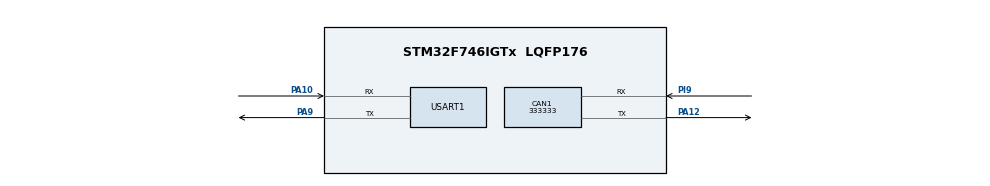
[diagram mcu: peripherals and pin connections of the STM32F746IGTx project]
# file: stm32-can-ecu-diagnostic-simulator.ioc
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CAN1.CalculateBaudRate=333333
CAN1.CalculateTimeBit=3000
CAN1.CalculateTimeQuantum=1000.0
CAN1.Mode=CAN_MODE_LOOPBACK
CORTEX_M7.default_mode_Activation=1
Mcu.Family=STM32F7
Mcu.Name=STM32F746IGTx
Mcu.Package=LQFP176
NVIC.CAN1_RX0_IRQn=true\:0\:0\:false\:false\:true\:true\:true\:true
NVIC.PriorityGroup=NVIC_PRIORITYGROUP_4
NVIC.USART1_IRQn=true\:0\:0\:false\:false\:true\:true\:true\:true
PA10.Mode=Asynchronous
PA10.Signal=USART1_RX
PA12.Mode=CAN_Activate
PA12.Signal=CAN1_TX
PA9.Mode=Asynchronous
PA9.Signal=USART1_TX
PI9.Mode=CAN_Activate
PI9.Signal=CAN1_RX
ProjectManager.HeapSize=0x200
ProjectManager.StackSize=0x400
ProjectManager.TargetToolchain=STM32CubeIDE
RCC.HSE_VALUE=25000000
RCC.HSI_VALUE=16000000
RCC.LSE_VALUE=32768
RCC.USBFreq_Value=96000000
RCC.VCOOutputFreq_Value=192000000
USART1.VirtualMode-Asynchronous=VM_ASYNC
board=custom

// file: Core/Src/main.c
/* USER CODE BEGIN Header */
/**
  ******************************************************************************
  * @file           : main.c
  * @brief          : Main program body
  ******************************************************************************
  * @attention
  *
  * Copyright (c) 2026 STMicroelectronics.
  * All rights reserved.
  *
  * This software is licensed under terms that can be found in the LICENSE file
  * in the root directory of this software component.
  * If no LICENSE file comes with this software, it is provided AS-IS.
  *
  ******************************************************************************
  */
/* USER CODE END Header */
#include "main.h"

/* USER CODE BEGIN Includes */
#include "app_log.h"
#include "app_ecu.h"
#include "app_dtc.h"
#include "app_command.h"
#include "app_uart.h"
#include "app_heartbeat.h"
#include "app_can.h"
/* USER CODE END Includes */

CAN_HandleTypeDef hcan1;

UART_HandleTypeDef huart1;

void SystemClock_Config(void);
static void MPU_Config(void);
static void MX_GPIO_Init(void);
static void MX_USART1_UART_Init(void);
static void MX_CAN1_Init(void);

int main(void)
{

  /* MPU Configuration--------------------------------------------------------*/
  MPU_Config();

  /* MCU Configuration--------------------------------------------------------*/

  /* Reset of all peripherals, Initializes the Flash interface and the Systick. */
  HAL_Init();

  /* Configure the system clock */
  SystemClock_Config();

  /* Initialize all configured peripherals */
  MX_GPIO_Init();
  MX_USART1_UART_Init();
  MX_CAN1_Init();
  /* USER CODE BEGIN 2 */

  /*
   * Khoi tao cac module chinh.
   */
  Log_Init();
  Ecu_Init();
  Dtc_Init();

  /*
   * Bat nhan lenh tu Tera Term.
   */
  UART_StartReceive();

  /*
   * Khoi tao heartbeat.
   */
  Heartbeat_Init();

  /*
   * Khoi tao CAN loopback va gui frame test.
   */
  AppCAN_Init();
  AppCAN_SendTestFrame();

  /*
   * Delay nho de CAN loopback kip dua frame vao FIFO.
   */
  HAL_Delay(10);

  /*
   * Test nhan CAN bang polling.
   */
  AppCAN_PollRx();

  Log_Info("UART COMMAND READY");
  UART_SendString("\r\nType command:\r\n");
  UART_SendString("help\r\n");
  UART_SendString("status\r\n");
  UART_SendString("start | stop | reset | sleep\r\n");
  UART_SendString("set dtc P0001 | set dtc P0002 | set dtc P0003\r\n");
  UART_SendString("clear dtc\r\n");
  UART_SendString("can test\r\n");
  /* USER CODE END 2 */

  /* Infinite loop */
  /* USER CODE BEGIN WHILE */
  while (1)
  {
	 UART_ProcessReceivedCommand();
	 Heartbeat_Process();
	 AppCAN_ProcessAutoTransmit();
    /* USER CODE END WHILE */

  }
}

void SystemClock_Config(void)
{
  RCC_OscInitTypeDef RCC_OscInitStruct = {0};
  RCC_ClkInitTypeDef RCC_ClkInitStruct = {0};

  /** Configure the main internal regulator output voltage
  */
  __HAL_RCC_PWR_CLK_ENABLE();
  __HAL_PWR_VOLTAGESCALING_CONFIG(PWR_REGULATOR_VOLTAGE_SCALE3);

  /** Initializes the RCC Oscillators according to the specified parameters
  * in the RCC_OscInitTypeDef structure.
  */
  RCC_OscInitStruct.OscillatorType = RCC_OSCILLATORTYPE_HSI;
  RCC_OscInitStruct.HSIState = RCC_HSI_ON;
  RCC_OscInitStruct.HSICalibrationValue = RCC_HSICALIBRATION_DEFAULT;
  RCC_OscInitStruct.PLL.PLLState = RCC_PLL_NONE;
  if (HAL_RCC_OscConfig(&RCC_OscInitStruct) != HAL_OK)
  {
    Error_Handler();
  }

  /** Initializes the CPU, AHB and APB buses clocks
  */
  RCC_ClkInitStruct.ClockType = RCC_CLOCKTYPE_HCLK|RCC_CLOCKTYPE_SYSCLK
                              |RCC_CLOCKTYPE_PCLK1|RCC_CLOCKTYPE_PCLK2;
  RCC_ClkInitStruct.SYSCLKSource = RCC_SYSCLKSOURCE_HSI;
  RCC_ClkInitStruct.AHBCLKDivider = RCC_SYSCLK_DIV1;
  RCC_ClkInitStruct.APB1CLKDivider = RCC_HCLK_DIV1;
  RCC_ClkInitStruct.APB2CLKDivider = RCC_HCLK_DIV1;

  if (HAL_RCC_ClockConfig(&RCC_ClkInitStruct, FLASH_LATENCY_0) != HAL_OK)
  {
    Error_Handler();
  }
}

static void MX_CAN1_Init(void)
{

  hcan1.Instance = CAN1;
  hcan1.Init.Prescaler = 2;
  hcan1.Init.Mode = CAN_MODE_LOOPBACK;
  hcan1.Init.SyncJumpWidth = CAN_SJW_1TQ;
  hcan1.Init.TimeSeg1 = CAN_BS1_13TQ;
  hcan1.Init.TimeSeg2 = CAN_BS2_2TQ;
  hcan1.Init.TimeTriggeredMode = DISABLE;
  hcan1.Init.AutoBusOff = DISABLE;
  hcan1.Init.AutoWakeUp = DISABLE;
  hcan1.Init.AutoRetransmission = DISABLE;
  hcan1.Init.ReceiveFifoLocked = DISABLE;
  hcan1.Init.TransmitFifoPriority = DISABLE;
  if (HAL_CAN_Init(&hcan1) != HAL_OK)
  {
    Error_Handler();
  }

}

static void MX_USART1_UART_Init(void)
{

  huart1.Instance = USART1;
  huart1.Init.BaudRate = 115200;
  huart1.Init.WordLength = UART_WORDLENGTH_8B;
  huart1.Init.StopBits = UART_STOPBITS_1;
  huart1.Init.Parity = UART_PARITY_NONE;
  huart1.Init.Mode = UART_MODE_TX_RX;
  huart1.Init.HwFlowCtl = UART_HWCONTROL_NONE;
  huart1.Init.OverSampling = UART_OVERSAMPLING_16;
  huart1.Init.OneBitSampling = UART_ONE_BIT_SAMPLE_DISABLE;
  huart1.AdvancedInit.AdvFeatureInit = UART_ADVFEATURE_NO_INIT;
  if (HAL_UART_Init(&huart1) != HAL_OK)
  {
    Error_Handler();
  }

}

static void MX_GPIO_Init(void)
{

  /* GPIO Ports Clock Enable */
  __HAL_RCC_GPIOI_CLK_ENABLE();
  __HAL_RCC_GPIOA_CLK_ENABLE();

}

 /* MPU Configuration */

void MPU_Config(void)
{
  MPU_Region_InitTypeDef MPU_InitStruct = {0};

  /* Disables the MPU */
  HAL_MPU_Disable();

  /** Initializes and configures the Region and the memory to be protected
  */
  MPU_InitStruct.Enable = MPU_REGION_ENABLE;
  MPU_InitStruct.Number = MPU_REGION_NUMBER0;
  MPU_InitStruct.BaseAddress = 0x0;
  MPU_InitStruct.Size = MPU_REGION_SIZE_4GB;
  MPU_InitStruct.SubRegionDisable = 0x87;
  MPU_InitStruct.TypeExtField = MPU_TEX_LEVEL0;
  MPU_InitStruct.AccessPermission = MPU_REGION_NO_ACCESS;
  MPU_InitStruct.DisableExec = MPU_INSTRUCTION_ACCESS_DISABLE;
  MPU_InitStruct.IsShareable = MPU_ACCESS_SHAREABLE;
  MPU_InitStruct.IsCacheable = MPU_ACCESS_NOT_CACHEABLE;
  MPU_InitStruct.IsBufferable = MPU_ACCESS_NOT_BUFFERABLE;

  HAL_MPU_ConfigRegion(&MPU_InitStruct);
  /* Enables the MPU */
  HAL_MPU_Enable(MPU_PRIVILEGED_DEFAULT);

}

void Error_Handler(void)
{
  __disable_irq();
  while (1)
  {
  }
}
